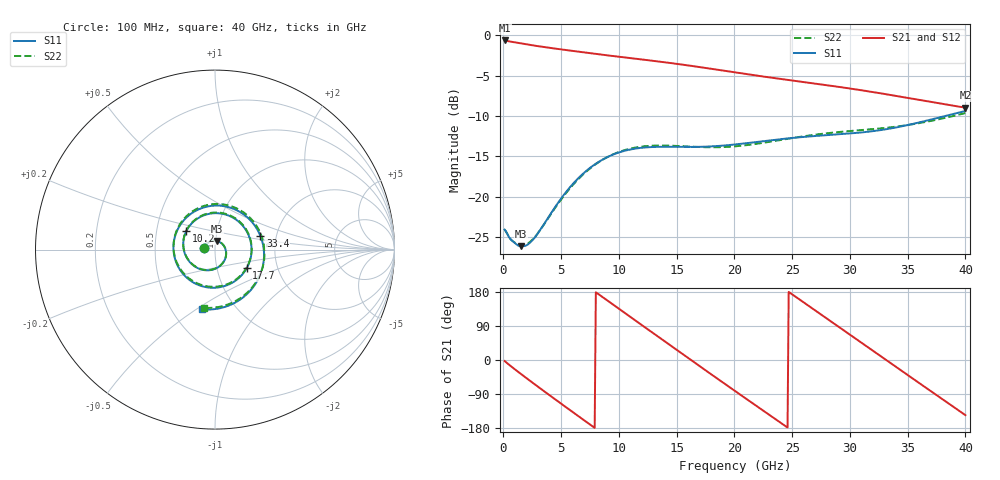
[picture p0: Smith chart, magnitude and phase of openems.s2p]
! D_s8_stitch_none: L1 (ref L2) → L8 (ref L7), no stitching via
! stackup: 8-layer 1.6 mm FR-4 (generic)
! ports: 1, 2
! openEMS 0.37.0, staircase, fine mesh (dfine 0.0175 mm), 1645644 cells
# Hz S RI R 50
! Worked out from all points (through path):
!   400 points, 100 MHz to 40 GHz, reference 50 ohm
!   highest |S21| = -0.62 dB at 100 MHz (marker M1); lowest = -8.9 dB at 40 GHz (marker M2)
!   group delay of S21, straight-line fit = 59.7 ps
!   lowest |S11| = -26.1 dB at 1.5 GHz (marker M3), VSWR 1.10, Z = 50.7 + j4.94 ohm
!   |S11| at or under -10 dB: start of sweep to 38.18 GHz
!   |S22| runs from -26.0 to -9.6 dB; largest |S21 - S12| = 0.0021
!   S11 on the Smith chart (normalised r, x): 100 MHz: 0.88, +0.02; 10.2 GHz: 0.71, +0.15; 17.7 GHz: 1.39, -0.30; 33.4 GHz: 1.65, +0.27; 40 GHz: 0.70, -0.53
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1e8  -0.0619 0.00956  0.9303 -0.0437  0.9303 -0.0437  -0.0617 0.00959
1.5e9  0.00905 0.0486  0.717 -0.5317  0.717 -0.5317  0.00914 0.0491
2.8e9  0.0564 0.00792  0.3473 -0.7895  0.3473 -0.7895  0.0565 0.00889
4e9  0.0562 -0.0522  -0.0464 -0.837  -0.0464 -0.837  0.0565 -0.0509
5.3e9  0.00743 -0.1042  -0.4319 -0.6903  -0.432 -0.6904  0.00793 -0.1026
6.8e9  -0.0845 -0.1081  -0.7149 -0.3324  -0.7152 -0.3323  -0.0839 -0.1064
8.4e9  -0.1641 -0.0319  -0.7507 0.1331  -0.7508 0.1334  -0.1638 -0.0301
1.02e10  -0.1593 0.1042  -0.4805 0.5565  -0.4801 0.5566  -0.1596 0.1064
1.18e10  -0.0628 0.1907  -0.0756 0.7085  -0.0754 0.7081  -0.0638 0.1938
1.34e10  0.07 0.1917  0.3304 0.6059  0.33 0.6057  0.0686 0.1963
1.56e10  0.1938 0.0627  0.6393 0.1564  0.6392 0.157  0.1936 0.0695
1.77e10  0.1769 -0.1032  0.5338 -0.3274  0.5346 -0.3272  0.1788 -0.0958
2.01e10  0.0274 -0.2094  0.0735 -0.5852  0.0737 -0.5862  0.0306 -0.2033
2.17e10  -0.0947 -0.196  -0.2559 -0.5062  -0.2568 -0.5069  -0.0918 -0.191
2.36e10  -0.2033 -0.0988  -0.4998 -0.2114  -0.5008 -0.2109  -0.2016 -0.0944
2.51e10  -0.2315 0.0154  -0.5185 0.0808  -0.5186 0.0818  -0.2311 0.0199
2.67e10  -0.1937 0.1371  -0.3715 0.3443  -0.3708 0.3448  -0.1948 0.1423
2.96e10  0.0078 0.2454  0.1195 0.4585  0.1194 0.4579  0.00443 0.2542
3.16e10  0.1628 0.194  0.3791 0.2435  0.3784 0.2438  0.1598 0.2068
3.34e10  0.2534 0.075  0.4271 -0.0422  0.4274 -0.0412  0.2531 0.091
3.67e10  0.2169 -0.2034  0.0968 -0.3788  0.0981 -0.38  0.2243 -0.1876
4e10  -0.0727 -0.3327  -0.2941 -0.2023  -0.296 -0.2032  -0.0634 -0.3242
